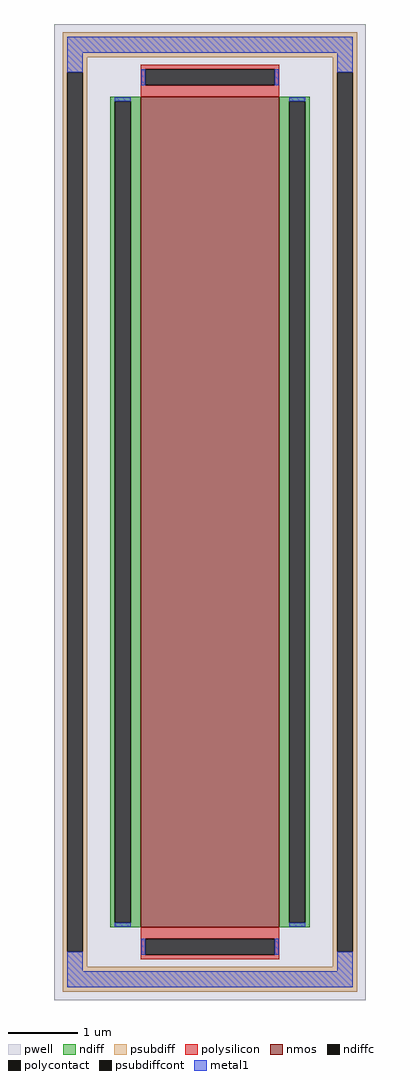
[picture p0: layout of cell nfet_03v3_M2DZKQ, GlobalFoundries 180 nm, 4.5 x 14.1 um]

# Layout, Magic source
magic
tech gf180mcuD
magscale 1 10
<< pwell >>
rect -450 -1410 450 1410
<< nmos >>
rect -200 -1200 200 1200
<< ndiff >>
rect -288 1187 -200 1200
rect -288 -1187 -275 1187
rect -229 -1187 -200 1187
rect -288 -1200 -200 -1187
rect 200 1187 288 1200
rect 200 -1187 229 1187
rect 275 -1187 288 1187
rect 200 -1200 288 -1187
<< ndiffc >>
rect -275 -1187 -229 1187
rect 229 -1187 275 1187
<< psubdiff >>
rect -426 1314 426 1386
rect -426 1270 -354 1314
rect -426 -1270 -413 1270
rect -367 -1270 -354 1270
rect 354 1270 426 1314
rect -426 -1314 -354 -1270
rect 354 -1270 367 1270
rect 413 -1270 426 1270
rect 354 -1314 426 -1270
rect -426 -1386 426 -1314
<< psubdiffcont >>
rect -413 -1270 -367 1270
rect 367 -1270 413 1270
<< polysilicon >>
rect -200 1279 200 1292
rect -200 1233 -187 1279
rect 187 1233 200 1279
rect -200 1200 200 1233
rect -200 -1233 200 -1200
rect -200 -1279 -187 -1233
rect 187 -1279 200 -1233
rect -200 -1292 200 -1279
<< polycontact >>
rect -187 1233 187 1279
rect -187 -1279 187 -1233
<< metal1 >>
rect -413 1327 413 1373
rect -413 1270 -367 1327
rect -198 1233 -187 1279
rect 187 1233 198 1279
rect 367 1270 413 1327
rect -275 1187 -229 1198
rect -275 -1198 -229 -1187
rect 229 1187 275 1198
rect 229 -1198 275 -1187
rect -413 -1327 -367 -1270
rect -198 -1279 -187 -1233
rect 187 -1279 198 -1233
rect 367 -1327 413 -1270
rect -413 -1373 413 -1327
<< properties >>
string FIXED_BBOX -390 -1350 390 1350
string gencell nfet_03v3
string library gf180mcu
string parameters w 12.0 l 2.0 m 1 nf 1 diffcov 100 polycov 100 guard 1 glc 1 grc 1 gtc 0 gbc 0 tbcov 100 rlcov 100 topc 1 botc 1 poverlap 0 doverlap 1 lmin 0.28 wmin 0.22 class mosfet full_metal 1 compatible {nfet_03v3 nfet_06v0 nfet_06v0_nvt}
<< end >>
